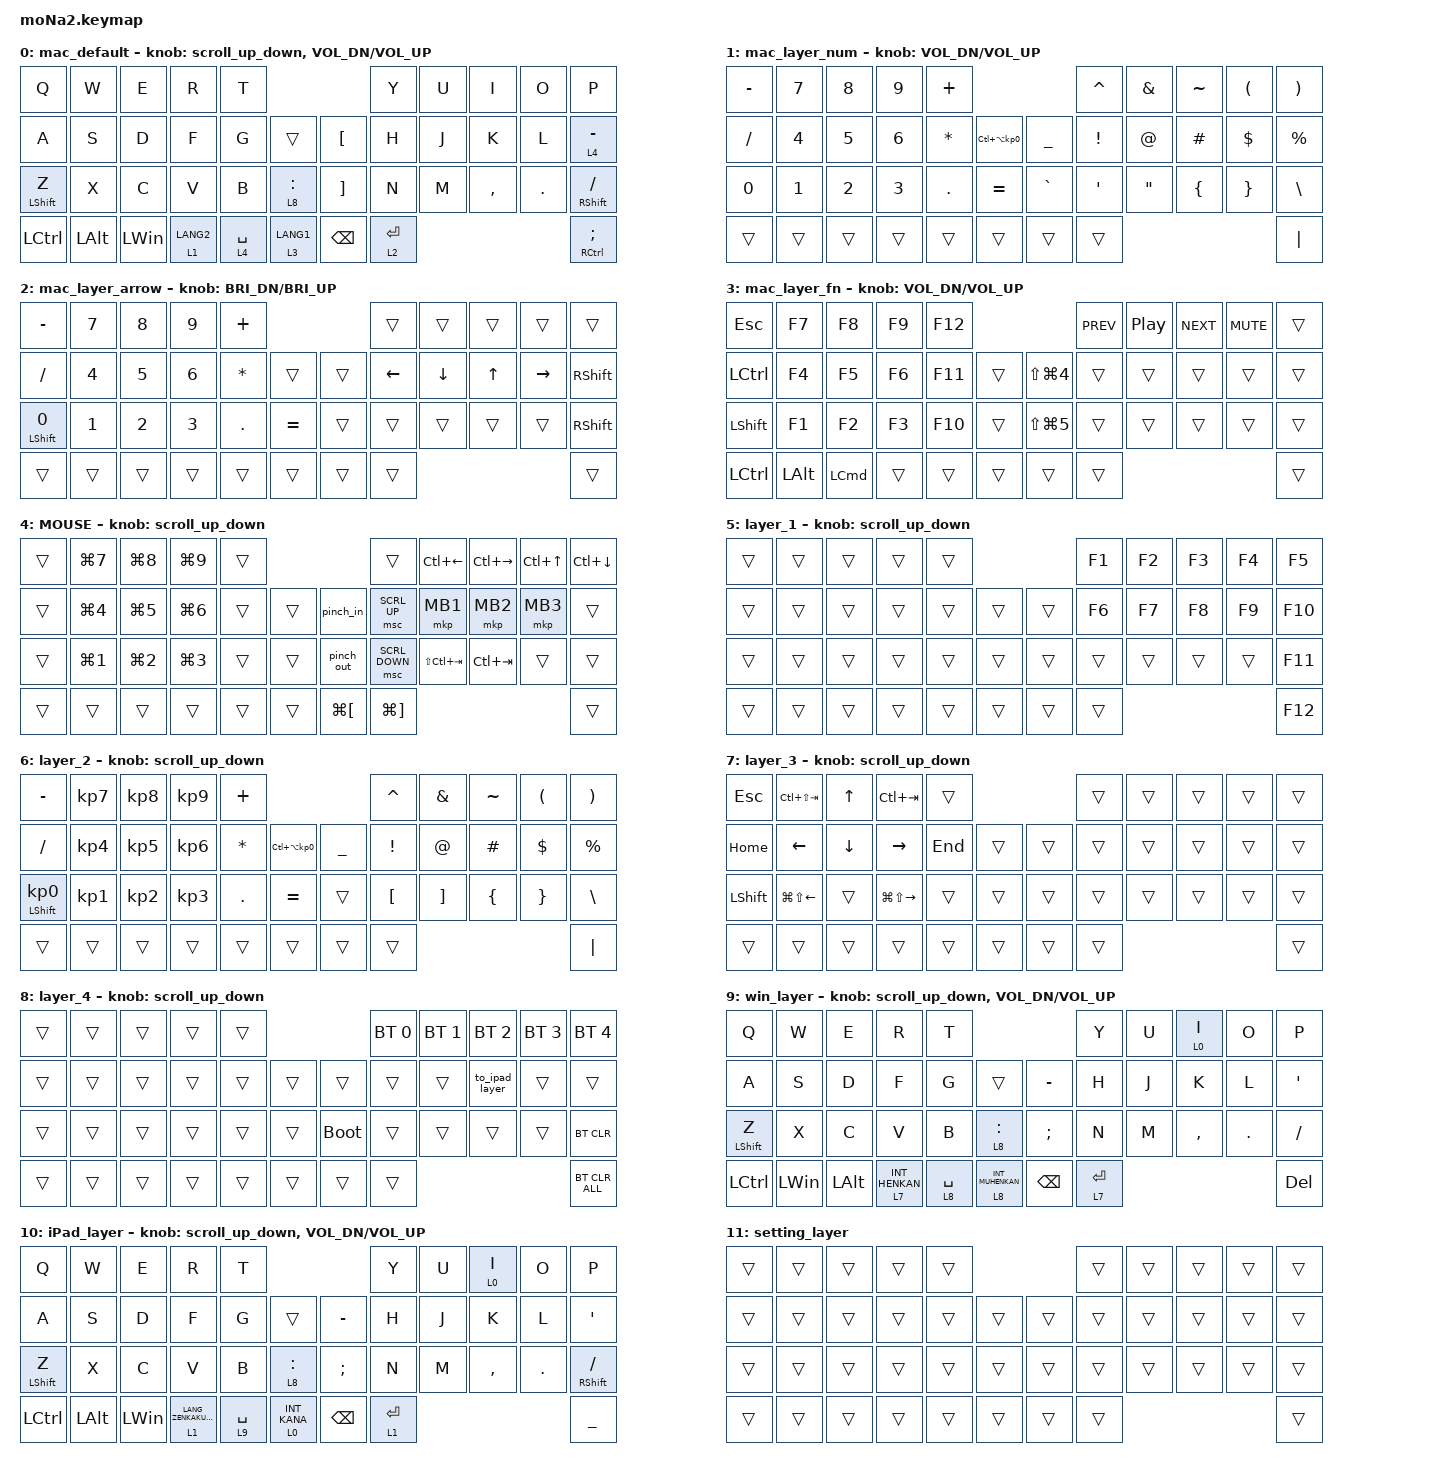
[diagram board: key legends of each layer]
#include <behaviors.dtsi>
#include <dt-bindings/zmk/bt.h>
#include <dt-bindings/zmk/keys.h>
#include <dt-bindings/zmk/pointing.h>

#define ZMK_POINTING_DEFAULT_SCRL_VAL 100
#define MOUSE 6

&mt {
    flavor = "balanced";
    quick-tap-ms = <0>;
};

/ {
    combos {
        compatible = "zmk,combos";

        escape {
            bindings = <&kp ESCAPE>;
            key-positions = <0 1>;
        };

        tab {
            bindings = <&kp TAB>;
            key-positions = <12 13>;
        };

        shift-tab {
            bindings = <&kp LS(TAB)>;
            key-positions = <11 12>;
        };
    };

    macros {
        to_layer_0: to_layer_0 {
            compatible = "zmk,behavior-macro-one-param";
            #binding-cells = <1>;
            bindings = <&to 8 &macro_param_1to1 &kp MACRO_PLACEHOLDER>;
            label = "TO_LAYER_0";
        };

        to_ipad_layer: to_ipad_layer {
            compatible = "zmk,behavior-macro";
            #binding-cells = <0>;
            bindings = <&bt BT_SEL 1 &to 10>;
            label = "TO_IPAD_LAYER";
        };

        to_mac_layer: to_mac_layer {
            compatible = "zmk,behavior-macro";
            #binding-cells = <0>;
            bindings = <&bt BT_SEL 0 &to 0>;
            label = "TO_MAC_LAYER";
        };

        pinch_in: pinch_in {
            compatible = "zmk,behavior-macro";
            #binding-cells = <0>;
            bindings =
                <&macro_press>,
                <&kp LEFT_COMMAND>,
                <&macro_press>,
                <&msc SCRL_UP>,
                <&macro_pause_for_release>,
                <&macro_release>,
                <&kp LEFT_COMMAND &msc SCRL_UP>;

            label = "PINCH_IN";
        };

        pinch_out: pinch_out {
            compatible = "zmk,behavior-macro";
            #binding-cells = <0>;
            bindings =
                <&macro_press>,
                <&kp LEFT_COMMAND>,
                <&macro_press>,
                <&msc SCRL_DOWN>,
                <&macro_pause_for_release>,
                <&macro_release>,
                <&kp LEFT_COMMAND &msc SCRL_DOWN>;

            label = "PINCH_OUT";
        };
    };

    behaviors {
        lt_to_layer_0: lt_to_layer_0 {
            compatible = "zmk,behavior-hold-tap";
            label = "LAYER_TAP_TO_0";
            bindings = <&mo>, <&to_layer_0>;

            #binding-cells = <2>;
            tapping-term-ms = <200>;
        };

        scroll_up_down: behavior_sensor_rotate_mouse_wheel_up_down {
            compatible = "zmk,behavior-sensor-rotate";
            #sensor-binding-cells = <0>;
            bindings = <&msc SCRL_UP>, <&msc SCRL_DOWN>;

            tap-ms = <20>;
        };
    };

    keymap {
        compatible = "zmk,keymap";

        mac_default {
            bindings = <
&kp Q             &kp W         &kp E         &kp R        &kp T                                          &kp Y        &kp U  &kp I      &kp O    &kp P
&kp A             &kp S         &kp D         &kp F        &kp G        &trans         &kp LEFT_BRACKET   &kp H        &kp J  &kp K      &kp L    &lt 4 MINUS
&mt LEFT_SHIFT Z  &kp X         &kp C         &kp V        &kp B        &lt 8 COLON    &kp RIGHT_BRACKET  &kp N        &kp M  &kp COMMA  &kp DOT  &mt RIGHT_SHIFT SLASH
&kp LCTRL         &kp LEFT_ALT  &kp LEFT_WIN  &lt 1 LANG2  &lt 4 SPACE  &lt 3 LANG1    &kp BACKSPACE      &lt 2 ENTER                             &mt RCTRL SEMICOLON
            >;

            sensor-bindings =
                <&scroll_up_down>,
                <&inc_dec_kp C_VOL_DN C_VOL_UP>;
        };

        mac_layer_num {
            bindings = <
&kp MINUS     &kp N7        &kp NUMBER_8  &kp NUMBER_9  &kp PLUS                                                 &kp CARET         &kp AMPERSAND      &kp TILDE       &kp LEFT_PARENTHESIS  &kp RIGHT_PARENTHESIS
&kp SLASH     &kp NUMBER_4  &kp NUMBER_5  &kp NUMBER_6  &kp ASTERISK  &kp LC(LA(KP_NUMBER_0))    &kp UNDERSCORE  &kp EXCLAMATION   &kp AT_SIGN        &kp HASH        &kp DOLLAR            &kp PERCENT
&kp NUMBER_0  &kp NUMBER_1  &kp NUMBER_2  &kp NUMBER_3  &kp PERIOD    &kp EQUAL                  &kp GRAVE       &kp SINGLE_QUOTE  &kp DOUBLE_QUOTES  &kp LEFT_BRACE  &kp RIGHT_BRACE       &kp BACKSLASH
&trans        &trans        &trans        &trans        &trans        &trans                     &trans          &trans                                                                     &kp PIPE
            >;

            sensor-bindings = <&inc_dec_kp K_VOL_DN K_VOL_UP>;
        };

        mac_layer_arrow {
            bindings = <
&kp MINUS                &kp N7        &kp NUMBER_8  &kp NUMBER_9  &kp PLUS                           &trans    &trans    &trans  &trans     &trans
&kp SLASH                &kp NUMBER_4  &kp NUMBER_5  &kp NUMBER_6  &kp ASTERISK  &trans       &trans  &kp LEFT  &kp DOWN  &kp UP  &kp RIGHT  &kp RIGHT_SHIFT
&mt LEFT_SHIFT NUMBER_0  &kp NUMBER_1  &kp NUMBER_2  &kp NUMBER_3  &kp PERIOD    &kp EQUAL    &trans  &trans    &trans    &trans  &trans     &kp RIGHT_SHIFT
&trans                   &trans        &trans        &trans        &trans        &trans       &trans  &trans                                 &trans
            >;

            sensor-bindings = <&inc_dec_kp C_BRI_DN C_BRI_UP>;
        };

        mac_layer_fn {
            bindings = <
&kp ESC           &kp F7        &kp F8            &kp F9  &kp F12                                  &kp C_PREV  &kp C_PP  &kp C_NEXT  &kp C_MUTE  &trans
&kp LEFT_CONTROL  &kp F4        &kp F5            &kp F6  &kp F11  &trans    &kp LS(LG(NUMBER_4))  &trans      &trans    &trans      &trans      &trans
&kp LEFT_SHIFT    &kp F1        &kp F2            &kp F3  &kp F10  &trans    &kp LS(LG(NUMBER_5))  &trans      &trans    &trans      &trans      &trans
&kp LCTRL         &kp LEFT_ALT  &kp LEFT_COMMAND  &trans  &trans   &trans    &trans                &trans                                        &trans
            >;

            sensor-bindings = <&inc_dec_kp K_VOL_DN K_VOL_UP>;
        };

        MOUSE {
            bindings = <
&trans  &kp LG(NUMBER_7)  &kp LG(NUMBER_8)  &kp LG(NUMBER_9)  &trans                                  &trans                 &kp LC(LEFT_ARROW)  &kp LC(RIGHT_ARROW)  &kp LC(UP_ARROW)  &kp LC(DOWN_ARROW)
&trans  &kp LG(NUMBER_4)  &kp LG(N5)        &kp LG(NUMBER_6)  &trans  &trans    &pinch_in             &msc SCRL_UP           &mkp MB1            &mkp MB2             &mkp MB3          &trans
&trans  &kp LG(NUMBER_1)  &kp LG(NUMBER_2)  &kp LG(NUMBER_3)  &trans  &trans    &pinch_out            &msc SCRL_DOWN         &kp LS(LC(TAB))     &kp LC(TAB)          &trans            &trans
&trans  &trans            &trans            &trans            &trans  &trans    &kp LG(LEFT_BRACKET)  &kp LG(RIGHT_BRACKET)                                                             &trans
            >;

            sensor-bindings = <&scroll_up_down>;
        };

        layer_1 {
            bindings = <
&trans  &trans  &trans  &trans  &trans                    &kp F1  &kp F2  &kp F3  &kp F4  &kp F5
&trans  &trans  &trans  &trans  &trans  &trans    &trans  &kp F6  &kp F7  &kp F8  &kp F9  &kp F10
&trans  &trans  &trans  &trans  &trans  &trans    &trans  &trans  &trans  &trans  &trans  &kp F11
&trans  &trans  &trans  &trans  &trans  &trans    &trans  &trans                          &kp F12
            >;

            sensor-bindings = <&scroll_up_down>;
        };

        layer_2 {
            bindings = <
&kp MINUS                   &kp KP_NUMBER_7  &kp KP_NUMBER_8  &kp KP_NUMBER_9  &kp PLUS                                                 &kp CARET         &kp AMPERSAND      &kp TILDE       &kp LEFT_PARENTHESIS  &kp RIGHT_PARENTHESIS
&kp SLASH                   &kp KP_NUMBER_4  &kp KP_NUMBER_5  &kp KP_NUMBER_6  &kp ASTERISK  &kp LC(LA(KP_NUMBER_0))    &kp UNDERSCORE  &kp EXCLAMATION   &kp AT_SIGN        &kp HASH        &kp DOLLAR            &kp PERCENT
&mt LEFT_SHIFT KP_NUMBER_0  &kp KP_NUMBER_1  &kp KP_NUMBER_2  &kp KP_NUMBER_3  &kp PERIOD    &kp EQUAL                  &trans          &kp LEFT_BRACKET  &kp RIGHT_BRACKET  &kp LEFT_BRACE  &kp RIGHT_BRACE       &kp BACKSLASH
&trans                      &trans           &trans           &trans           &trans        &trans                     &trans          &trans                                                                     &kp PIPE
            >;

            sensor-bindings = <&scroll_up_down>;
        };

        layer_3 {
            bindings = <
&kp ESCAPE      &kp LC(LS(TAB))         &kp UP_ARROW    &kp LC(TAB)              &trans                     &trans  &trans  &trans  &trans  &trans
&kp HOME        &kp LEFT_ARROW          &kp DOWN_ARROW  &kp RIGHT_ARROW          &kp END  &trans    &trans  &trans  &trans  &trans  &trans  &trans
&kp LEFT_SHIFT  &kp LG(LS(LEFT_ARROW))  &trans          &kp LG(LS(RIGHT_ARROW))  &trans   &trans    &trans  &trans  &trans  &trans  &trans  &trans
&trans          &trans                  &trans          &trans                   &trans   &trans    &trans  &trans                          &trans
            >;

            sensor-bindings = <&scroll_up_down>;
        };

        layer_4 {
            bindings = <
&trans  &trans  &trans  &trans  &trans                         &bt BT_SEL 0  &bt BT_SEL 1  &bt BT_SEL 2    &bt BT_SEL 3  &bt BT_SEL 4
&trans  &trans  &trans  &trans  &trans  &trans    &trans       &trans        &trans        &to_ipad_layer  &trans        &trans
&trans  &trans  &trans  &trans  &trans  &trans    &bootloader  &trans        &trans        &trans          &trans        &bt BT_CLR
&trans  &trans  &trans  &trans  &trans  &trans    &trans       &trans                                                    &bt BT_CLR_ALL
            >;

            sensor-bindings = <&scroll_up_down>;
        };

        win_layer {
            bindings = <
&kp Q             &kp W         &kp E         &kp R             &kp T                                             &kp Y        &kp U  &lt 0 I    &kp O    &kp P
&kp A             &kp S         &kp D         &kp F             &kp G        &trans                &kp MINUS      &kp H        &kp J  &kp K      &kp L    &kp SQT
&mt LEFT_SHIFT Z  &kp X         &kp C         &kp V             &kp B        &lt 8 COLON           &kp SEMICOLON  &kp N        &kp M  &kp COMMA  &kp DOT  &kp SLASH
&kp LCTRL         &kp LEFT_WIN  &kp LEFT_ALT  &lt 7 INT_HENKAN  &lt 8 SPACE  &lt 8 INT_MUHENKAN    &kp BACKSPACE  &lt 7 ENTER                             &kp DEL
            >;

            sensor-bindings =
                <&scroll_up_down>,
                <&inc_dec_kp C_VOL_DN C_VOL_UP>;
        };

        iPad_layer {
            bindings = <
&kp Q             &kp W         &kp E         &kp R                      &kp T                                         &kp Y        &kp U  &lt 0 I    &kp O    &kp P
&kp A             &kp S         &kp D         &kp F                      &kp G        &trans            &kp MINUS      &kp H        &kp J  &kp K      &kp L    &kp SQT
&mt LEFT_SHIFT Z  &kp X         &kp C         &kp V                      &kp B        &lt 8 COLON       &kp SEMICOLON  &kp N        &kp M  &kp COMMA  &kp DOT  &mt RIGHT_SHIFT SLASH
&kp LCTRL         &kp LEFT_ALT  &kp LEFT_WIN  &lt 1 LANG_ZENKAKUHANKAKU  &lt 9 SPACE  &lt 0 INT_KANA    &kp BACKSPACE  &lt 1 ENTER                             &kp UNDER
            >;

            sensor-bindings =
                <&scroll_up_down>,
                <&inc_dec_kp C_VOL_DN C_VOL_UP>;
        };

        setting_layer {
            bindings = <
&trans  &trans  &trans  &trans  &trans                    &trans  &trans  &trans  &trans  &trans
&trans  &trans  &trans  &trans  &trans  &trans    &trans  &trans  &trans  &trans  &trans  &trans
&trans  &trans  &trans  &trans  &trans  &trans    &trans  &trans  &trans  &trans  &trans  &trans
&trans  &trans  &trans  &trans  &trans  &trans    &trans  &trans                          &trans
            >;
        };
    };
};
